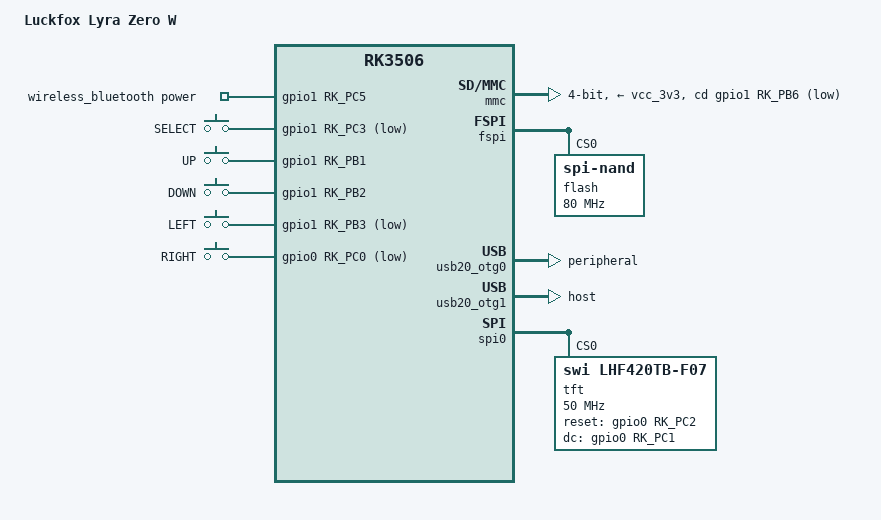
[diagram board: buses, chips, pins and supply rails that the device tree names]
// SPDX-License-Identifier: (GPL-2.0+ OR MIT)
/*
 * Copyright (c) 2024 Rockchip Electronics Co., Ltd.
 */

/dts-v1/;

#include "rk3506-luckfox-lyra-ultra.dtsi"

/ {
	model = "Luckfox Lyra Zero W";
	compatible = "rockchip,rk3506g-demo-display-control", "rockchip,rk3506";

	chosen {
		bootargs = "earlycon=uart8250,mmio32,0xff0a0000 console=tty1 console=ttyFIQ0 root=/dev/mmcblk0p3 rootfstype=ext4 rootwait snd_aloop.index=7 snd_aloop.use_raw_jiffies=1";
	};

	wireless_bluetooth: wireless-bluetooth {
		compatible = "bluetooth-platdata";
		BT,power_gpio = <&gpio1 RK_PC5 GPIO_ACTIVE_HIGH>;
		status = "okay";
	};

        gpio_keys: gpio-keys {
                compatible = "gpio-keys";
                pinctrl-names = "default";
                pinctrl-0 = <&usr_button_pins>;

                button-select {
                        label = "SELECT";
                        linux,code = <KEY_SELECT>;
                        gpios = <&gpio1 RK_PC3 GPIO_ACTIVE_LOW>;
                };

                button-up {
                        label = "UP";
                        linux,code = <KEY_UP>;
                        gpios = <&gpio1 RK_PB1 GPIO_ACTIVE_HIGH>;
                };

                button-down {
                        label = "DOWN";
                        linux,code = <KEY_DOWN>;
                        gpios = <&gpio1 RK_PB2 GPIO_ACTIVE_HIGH>;
                };

                button-left {
                        label = "LEFT";
                        linux,code = <KEY_LEFT>;
                        gpios = <&gpio1 RK_PB3 GPIO_ACTIVE_LOW>;
                };

                button-right {
                        label = "RIGHT";
                        linux,code = <KEY_RIGHT>;
                        gpios = <&gpio0 RK_PC0 GPIO_ACTIVE_LOW>;
                };
        };
};

/**********media**********/
&mmc {
	/* For SDMMC */
	max-frequency = <52000000>;
	bus-width = <4>;
	no-sdio;
	no-mmc;
	cap-mmc-highspeed;
	cap-sd-highspeed;
	cd-gpios = <&gpio1 RK_PB6 GPIO_ACTIVE_LOW>; //det
	disable-wp;
	//sd-uhs-sdr104;
	pinctrl-names = "default";
	pinctrl-0 = <&sdmmc_clk_pins &sdmmc_cmd_pins &sdmmc_bus4_pins &sdmmc_det &sdmmc_pwren>;
	vqmmc-supply = <&vcc_3v3>;
	vmmc-supply = <&vcc_3v3>;
	status = "okay";
};

&fspi {
	status = "okay";

	flash@0 {
		compatible = "spi-nand";
		reg = <0>;
		spi-max-frequency = <80000000>;
		spi-rx-bus-width = <4>;
		spi-tx-bus-width = <1>;
	};
};

/**********display**********/
&cma {
	size = <0x1000000>;
};

&dsi {
	status = "disabled";
};

&dsi_dphy {
	status = "disabled";
};

&dsi_in_vop {
	status = "disabled";
};

&route_dsi {
	status = "disabled";
};

&dsi_panel {
	status = "disabled";
};

/**********ethernet**********/
&gmac1 {
	status = "disabled";
};

&mdio1 {
	status = "disabled";
};

/**********usb**********/
&usb20_otg0 {
	dr_mode = "peripheral";
	status = "okay";
};

&usb20_otg1 {
	dr_mode = "host";
	status = "okay";
};

&pinctrl {
	tft {
		tft_pins: tft-pins {
			rockchip,pins = <0 RK_PA2 RK_FUNC_GPIO &pcfg_pull_none>, // reset
					<0 RK_PA3 RK_FUNC_GPIO &pcfg_pull_none>; // dc
		};
	};

	joystick {
		  usr_button_pins: usr-button-pins {
			rockchip,pins = <1 RK_PC3 RK_FUNC_GPIO &pcfg_pull_none>, // SELECT
					<1 RK_PB1 RK_FUNC_GPIO &pcfg_pull_none>, // UP
					<1 RK_PB2 RK_FUNC_GPIO &pcfg_pull_none>, // DOWN
					<1 RK_PB3 RK_FUNC_GPIO &pcfg_pull_none>, // LEFT
					<0 RK_PC0 RK_FUNC_GPIO &pcfg_pull_none>; // RIGHT
		};
        };
};

&spi0 {
	pinctrl-names = "default";
	pinctrl-0 = <&rm_io29_spi0_clk &rm_io30_spi0_mosi &rm_io31_spi0_csn0>;

	status = "okay";

	tft: st7305@0 {
		#address-cells = <1>;
		#size-cells = <1>;

		pinctrl-names = "default";
		pinctrl-0 = <&tft_pins>;

		// compatible = "osptek,ydp154h008-v3";
		// compatible = "osptek,ydp213h001-v3";
		// compatible = "osptek,ydp290h001-v3";
		// compatible = "osptek,ydp420h001-v3";
		compatible = "swi,lhf420tb-f07";

		spi-max-frequency = <50000000>;
		reg = <0>;

		reset-gpios = <&gpio0 RK_PC2 GPIO_ACTIVE_HIGH>;
		dc-gpios = <&gpio0 RK_PC1 GPIO_ACTIVE_HIGH>;

		status = "okay";
	};
};
